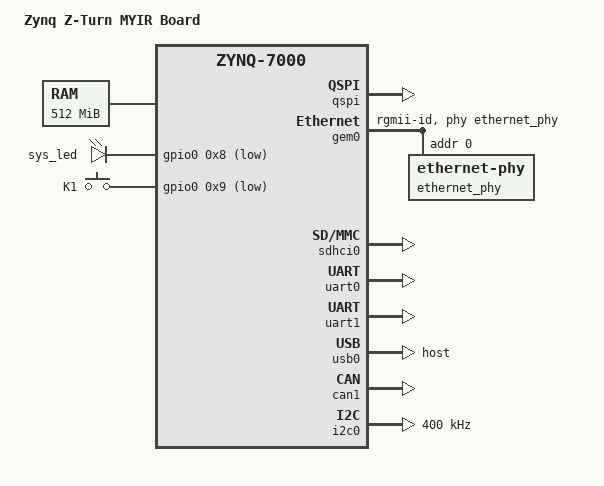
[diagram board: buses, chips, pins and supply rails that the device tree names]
/*
 *  Copyright (C) 2015 Andrea Merello <adnrea.merello@gmail.com>
 *  Copyright (C) 2017 Alexander Graf <agraf@suse.de>
 *
 *  Based on zynq-zed.dts which is:
 *  Copyright (C) 2011 - 2014 Xilinx
 *  Copyright (C) 2012 National Instruments Corp.
 *
 * This software is licensed under the terms of the GNU General Public
 * License version 2, as published by the Free Software Foundation, and
 * may be copied, distributed, and modified under those terms.
 *
 * This program is distributed in the hope that it will be useful,
 * but WITHOUT ANY WARRANTY; without even the implied warranty of
 * MERCHANTABILITY or FITNESS FOR A PARTICULAR PURPOSE.  See the
 * GNU General Public License for more details.
 */
/dts-v1/;
/include/ "zynq-7000.dtsi"

/ {
	model = "Zynq Z-Turn MYIR Board";
	compatible = "xlnx,zynq-7000";

	aliases {
		ethernet0 = &gem0;
		serial0 = &uart1;
		serial1 = &uart0;
		spi0 = &qspi;
		mmc0 = &sdhci0;
	};

	memory {
		device_type = "memory";
		reg = <0x0 0x20000000>;
	};

	chosen {
		stdout-path = "serial0:115200n8";
	};

	gpio-leds {
		compatible = "gpio-leds";

		usr_led {
			label = "sys_led";
			gpios = <&gpio0 0x8 0x1>;
			default-state = "off";
			linux,default-trigger = "heartbeat";
		};
	};

	gpio-keys {
		compatible = "gpio-keys";
		autorepeat;
		K1 {
			label = "K1";
			gpios = <&gpio0 0x9 0x1>;
			linux,code = <0x66>;
			gpio-key,wakeup;
			autorepeat;
		};
	};
};

&clkc {
	ps-clk-frequency = <33333333>;
	fclk-enable = <0xf>;
};

&qspi {
	u-boot,dm-pre-reloc;
	status = "okay";
};

&gem0 {
	status = "okay";
	phy-mode = "rgmii-id";
	phy-handle = <&ethernet_phy>;

	ethernet_phy: ethernet-phy@0 {
		reg = <0x0>;
	};
};

&sdhci0 {
	u-boot,dm-pre-reloc;
	status = "okay";
};

&uart0 {
	u-boot,dm-pre-reloc;
	status = "okay";
};

&uart1 {
	u-boot,dm-pre-reloc;
	status = "okay";
};

&usb0 {
	status = "okay";
	dr_mode = "host";
};

&can1 {
	status = "okay";
};

&i2c0 {
	status = "okay";
	clock-frequency = <400000>;
};
